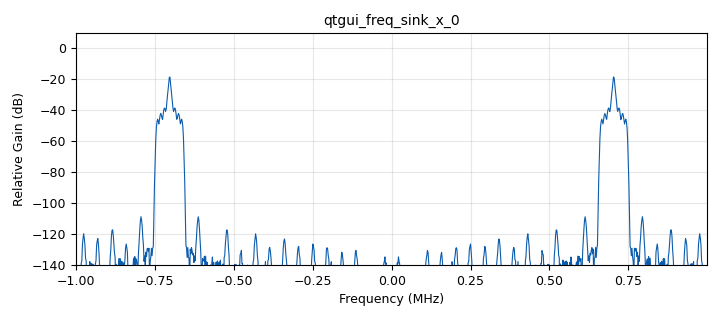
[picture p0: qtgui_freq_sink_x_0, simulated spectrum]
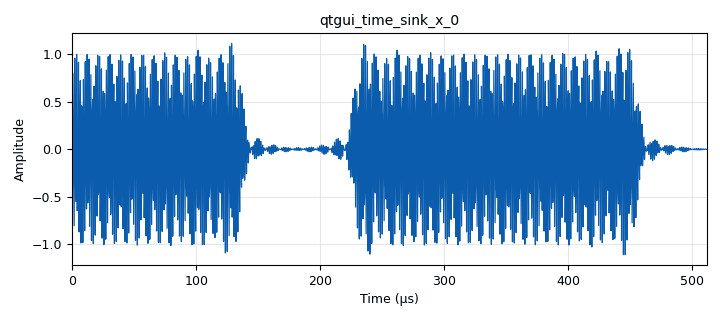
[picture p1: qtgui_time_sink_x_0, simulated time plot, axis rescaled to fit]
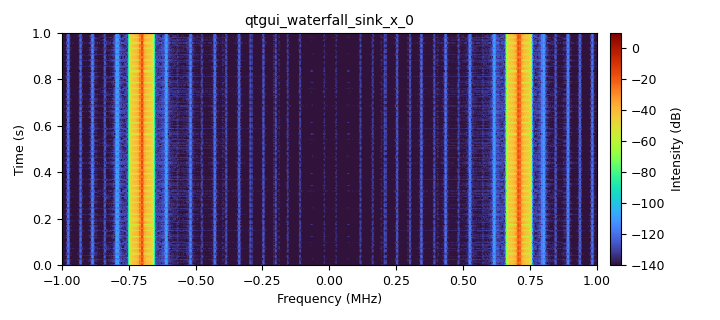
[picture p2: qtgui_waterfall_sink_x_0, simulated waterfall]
options:
  parameters:
    author: gpellaeon
    generate_options: qt_gui
    id: signal_thresh
    output_language: python
    title: Signal + Threshold
  states: {}

blocks:
- name: samp_rate
  id: variable
  parameters:
    value: 2e6
  states: {}
- name: symb_rate
  id: variable
  parameters:
    value: '32000'
  states: {}
- name: analog_random_source_x_0
  id: analog_random_source_x
  parameters:
    max: '2'
    min: '0'
    num_samps: '1000'
    repeat: 'True'
    type: short
  states: {}
- name: analog_sig_source_x_0
  id: analog_sig_source_x
  parameters:
    amp: '1'
    freq: '1000'
    offset: '0'
    phase: '0'
    samp_rate: symb_rate
    type: float
    waveform: analog.GR_COS_WAVE
  states: {}
- name: analog_sig_source_x_1
  id: analog_sig_source_x
  parameters:
    amp: '1'
    freq: 704e3
    offset: '0'
    phase: '0'
    samp_rate: samp_rate
    type: float
    waveform: analog.GR_COS_WAVE
  states: {}
- name: blocks_add_xx_0
  id: blocks_add_xx
  parameters:
    type: float
  states: {}
- name: blocks_multiply_xx_0
  id: blocks_multiply_xx
  parameters:
    type: float
  states: {}
- name: blocks_short_to_float_0
  id: blocks_short_to_float
  parameters:
    scale: '1'
  states: {}
- name: blocks_threshold_ff_0
  id: blocks_threshold_ff
  parameters:
    high: '0.9'
    init: '0'
    low: '-0.9'
  states: {}
- name: blocks_throttle_0
  id: blocks_throttle
  parameters:
    samples_per_second: samp_rate
    type: float
  states: {}
- name: qtgui_freq_sink_x_0
  id: qtgui_freq_sink_x
  parameters:
    bw: samp_rate
    fc: '0'
    fftsize: '1024'
    type: float
    wintype: firdes.WIN_BLACKMAN_hARRIS
  states: {}
- name: qtgui_time_sink_x_0
  id: qtgui_time_sink_x
  parameters:
    size: '1024'
    srate: samp_rate
    type: float
  states: {}
- name: qtgui_waterfall_sink_x_0
  id: qtgui_waterfall_sink_x
  parameters:
    bw: samp_rate
    fc: '0'
    fftsize: '1024'
    type: float
    wintype: firdes.WIN_BLACKMAN_hARRIS
  states: {}
- name: rational_resampler_xxx_0
  id: rational_resampler_xxx
  parameters:
    decim: '1'
    interp: '22'
    taps: ''
    type: fff
  states: {}

connections:
- [analog_random_source_x_0, '0', blocks_short_to_float_0, '0']
- [analog_sig_source_x_0, '0', blocks_add_xx_0, '0']
- [analog_sig_source_x_1, '0', blocks_multiply_xx_0, '1']
- [blocks_add_xx_0, '0', blocks_threshold_ff_0, '0']
- [blocks_multiply_xx_0, '0', qtgui_freq_sink_x_0, '0']
- [blocks_multiply_xx_0, '0', qtgui_time_sink_x_0, '0']
- [blocks_multiply_xx_0, '0', qtgui_waterfall_sink_x_0, '0']
- [blocks_short_to_float_0, '0', blocks_add_xx_0, '1']
- [blocks_threshold_ff_0, '0', rational_resampler_xxx_0, '0']
- [blocks_throttle_0, '0', blocks_multiply_xx_0, '0']
- [rational_resampler_xxx_0, '0', blocks_throttle_0, '0']

metadata:
  file_format: 1
